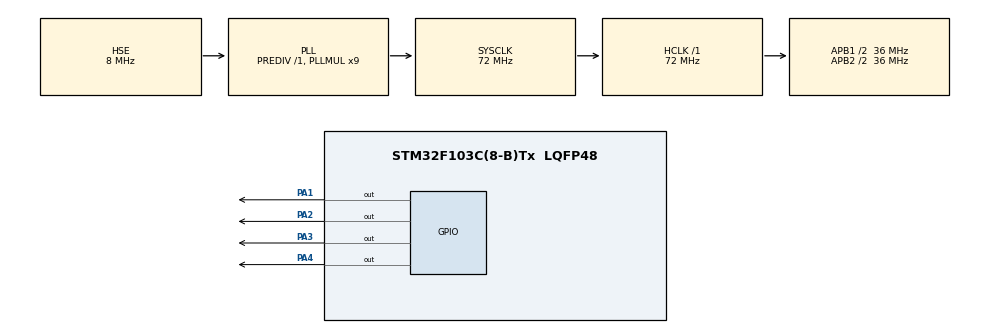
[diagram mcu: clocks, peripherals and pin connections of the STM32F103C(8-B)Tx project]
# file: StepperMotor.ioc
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Mcu.Family=STM32F1
Mcu.Name=STM32F103C(8-B)Tx
Mcu.Package=LQFP48
NVIC.PriorityGroup=NVIC_PRIORITYGROUP_4
PA1.Signal=GPIO_Output
PA2.Signal=GPIO_Output
PA3.Signal=GPIO_Output
PA4.Signal=GPIO_Output
PD0-OSC_IN.Mode=HSE-External-Oscillator
PD0-OSC_IN.Signal=RCC_OSC_IN
PD1-OSC_OUT.Mode=HSE-External-Oscillator
PD1-OSC_OUT.Signal=RCC_OSC_OUT
ProjectManager.HeapSize=0x200
ProjectManager.StackSize=0x400
ProjectManager.TargetToolchain=STM32CubeIDE
RCC.AHBFreq_Value=72000000
RCC.APB1CLKDivider=RCC_HCLK_DIV2
RCC.APB1Freq_Value=36000000
RCC.APB1TimFreq_Value=72000000
RCC.APB2CLKDivider=RCC_HCLK_DIV2
RCC.APB2Freq_Value=36000000
RCC.APB2TimFreq_Value=72000000
RCC.HCLKFreq_Value=72000000
RCC.PLLMUL=RCC_PLL_MUL9
RCC.PLLSourceVirtual=RCC_PLLSOURCE_HSE
RCC.SYSCLKFreq_VALUE=72000000
RCC.SYSCLKSource=RCC_SYSCLKSOURCE_PLLCLK
RCC.USBFreq_Value=72000000
VP_SYS_VS_ND.Mode=No_Debug
VP_TIM4_VS_ClockSourceINT.Mode=Internal
board=custom

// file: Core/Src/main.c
/* USER CODE BEGIN Header */
/**
  ******************************************************************************
  * @file           : main.c
  * @brief          : Main program body
  ******************************************************************************
  * @attention
  *
  * Copyright (c) 2023 STMicroelectronics.
  * All rights reserved.
  *
  * This software is licensed under terms that can be found in the LICENSE file
  * in the root directory of this software component.
  * If no LICENSE file comes with this software, it is provided AS-IS.
  *
  ******************************************************************************
  */
/* USER CODE END Header */
#include "main.h"

TIM_HandleTypeDef htim4;

void SystemClock_Config(void);
static void MX_GPIO_Init(void);
static void MX_TIM4_Init(void);

/* USER CODE BEGIN 0 */
#define stepsperrev 400
void stepper_step_angle(float angle, int direction, int rpm);
/* USER CODE END 0 */

int main(void)
{

  /* MCU Configuration--------------------------------------------------------*/

  /* Reset of all peripherals, Initializes the Flash interface and the Systick. */
  HAL_Init();

  /* Configure the system clock */
  SystemClock_Config();

  /* Initialize all configured peripherals */
  MX_GPIO_Init();
  MX_TIM4_Init();

  /* Infinite loop */
  while (1)
  {

    /* USER CODE BEGIN 3 */

	  stepper_step_angle(360, 1, 60);
	  HAL_Delay(200);
	  stepper_step_angle(360, 0, 60);
  }
  /* USER CODE END 3 */
}

void SystemClock_Config(void)
{
  RCC_OscInitTypeDef RCC_OscInitStruct = {0};
  RCC_ClkInitTypeDef RCC_ClkInitStruct = {0};

  /** Initializes the RCC Oscillators according to the specified parameters
  * in the RCC_OscInitTypeDef structure.
  */
  RCC_OscInitStruct.OscillatorType = RCC_OSCILLATORTYPE_HSE;
  RCC_OscInitStruct.HSEState = RCC_HSE_ON;
  RCC_OscInitStruct.HSEPredivValue = RCC_HSE_PREDIV_DIV1;
  RCC_OscInitStruct.HSIState = RCC_HSI_ON;
  RCC_OscInitStruct.PLL.PLLState = RCC_PLL_ON;
  RCC_OscInitStruct.PLL.PLLSource = RCC_PLLSOURCE_HSE;
  RCC_OscInitStruct.PLL.PLLMUL = RCC_PLL_MUL9;
  if (HAL_RCC_OscConfig(&RCC_OscInitStruct) != HAL_OK)
  {
    Error_Handler();
  }

  /** Initializes the CPU, AHB and APB buses clocks
  */
  RCC_ClkInitStruct.ClockType = RCC_CLOCKTYPE_HCLK|RCC_CLOCKTYPE_SYSCLK
                              |RCC_CLOCKTYPE_PCLK1|RCC_CLOCKTYPE_PCLK2;
  RCC_ClkInitStruct.SYSCLKSource = RCC_SYSCLKSOURCE_PLLCLK;
  RCC_ClkInitStruct.AHBCLKDivider = RCC_SYSCLK_DIV1;
  RCC_ClkInitStruct.APB1CLKDivider = RCC_HCLK_DIV2;
  RCC_ClkInitStruct.APB2CLKDivider = RCC_HCLK_DIV2;

  if (HAL_RCC_ClockConfig(&RCC_ClkInitStruct, FLASH_LATENCY_2) != HAL_OK)
  {
    Error_Handler();
  }
}

static void MX_TIM4_Init(void)
{

  TIM_ClockConfigTypeDef sClockSourceConfig = {0};
  TIM_MasterConfigTypeDef sMasterConfig = {0};

  htim4.Instance = TIM4;
  htim4.Init.Prescaler = 0;
  htim4.Init.CounterMode = TIM_COUNTERMODE_UP;
  htim4.Init.Period = 65535;
  htim4.Init.ClockDivision = TIM_CLOCKDIVISION_DIV1;
  htim4.Init.AutoReloadPreload = TIM_AUTORELOAD_PRELOAD_DISABLE;
  if (HAL_TIM_Base_Init(&htim4) != HAL_OK)
  {
    Error_Handler();
  }
  sClockSourceConfig.ClockSource = TIM_CLOCKSOURCE_INTERNAL;
  if (HAL_TIM_ConfigClockSource(&htim4, &sClockSourceConfig) != HAL_OK)
  {
    Error_Handler();
  }
  sMasterConfig.MasterOutputTrigger = TIM_TRGO_RESET;
  sMasterConfig.MasterSlaveMode = TIM_MASTERSLAVEMODE_DISABLE;
  if (HAL_TIMEx_MasterConfigSynchronization(&htim4, &sMasterConfig) != HAL_OK)
  {
    Error_Handler();
  }

}

static void MX_GPIO_Init(void)
{
  GPIO_InitTypeDef GPIO_InitStruct = {0};

  /* GPIO Ports Clock Enable */
  __HAL_RCC_GPIOD_CLK_ENABLE();
  __HAL_RCC_GPIOA_CLK_ENABLE();

  /*Configure GPIO pin Output Level */
  HAL_GPIO_WritePin(GPIOA, GPIO_PIN_1|GPIO_PIN_2|GPIO_PIN_3|GPIO_PIN_4, GPIO_PIN_RESET);

  /*Configure GPIO pins : PA1 PA2 PA3 PA4 */
  GPIO_InitStruct.Pin = GPIO_PIN_1|GPIO_PIN_2|GPIO_PIN_3|GPIO_PIN_4;
  GPIO_InitStruct.Mode = GPIO_MODE_OUTPUT_PP;
  GPIO_InitStruct.Pull = GPIO_NOPULL;
  GPIO_InitStruct.Speed = GPIO_SPEED_FREQ_LOW;
  HAL_GPIO_Init(GPIOA, &GPIO_InitStruct);

}

/* USER CODE BEGIN 4 */

void delay (uint16_t us)
{
  __HAL_TIM_SET_COUNTER(&htim4, 0);
  while (__HAL_TIM_GET_COUNTER(&htim4) < us);
}

void stepper_set_rpm (int rpm)  // Set rpm--> max 13, min 1,,,  went to 14 rev/min
{
	delay(60e6/stepsperrev/rpm);
}

void stepper_half_drive (int step)
{
	switch (step){
		case 0:
			  HAL_GPIO_WritePin(GPIOA, GPIO_PIN_1, GPIO_PIN_SET);   // IN1
			  HAL_GPIO_WritePin(GPIOA, GPIO_PIN_2, GPIO_PIN_RESET);   // IN2
			  HAL_GPIO_WritePin(GPIOA, GPIO_PIN_3, GPIO_PIN_RESET);   // IN3
			  HAL_GPIO_WritePin(GPIOA, GPIO_PIN_4, GPIO_PIN_RESET);   // IN4
			  break;

		case 1:
			  HAL_GPIO_WritePin(GPIOA, GPIO_PIN_1, GPIO_PIN_SET);   // IN1
			  HAL_GPIO_WritePin(GPIOA, GPIO_PIN_2, GPIO_PIN_SET);   // IN2
			  HAL_GPIO_WritePin(GPIOA, GPIO_PIN_3, GPIO_PIN_RESET);   // IN3
			  HAL_GPIO_WritePin(GPIOA, GPIO_PIN_4, GPIO_PIN_RESET);   // IN4
			  break;

		case 2:
			  HAL_GPIO_WritePin(GPIOA, GPIO_PIN_1, GPIO_PIN_RESET);   // IN1
			  HAL_GPIO_WritePin(GPIOA, GPIO_PIN_2, GPIO_PIN_SET);   // IN2
			  HAL_GPIO_WritePin(GPIOA, GPIO_PIN_3, GPIO_PIN_RESET);   // IN3
			  HAL_GPIO_WritePin(GPIOA, GPIO_PIN_4, GPIO_PIN_RESET);   // IN4
			  break;

		case 3:
			  HAL_GPIO_WritePin(GPIOA, GPIO_PIN_1, GPIO_PIN_RESET);   // IN1
			  HAL_GPIO_WritePin(GPIOA, GPIO_PIN_2, GPIO_PIN_SET);   // IN2
			  HAL_GPIO_WritePin(GPIOA, GPIO_PIN_3, GPIO_PIN_SET);   // IN3
			  HAL_GPIO_WritePin(GPIOA, GPIO_PIN_4, GPIO_PIN_RESET);   // IN4
			  break;

		case 4:
			  HAL_GPIO_WritePin(GPIOA, GPIO_PIN_1, GPIO_PIN_RESET);   // IN1
			  HAL_GPIO_WritePin(GPIOA, GPIO_PIN_2, GPIO_PIN_RESET);   // IN2
			  HAL_GPIO_WritePin(GPIOA, GPIO_PIN_3, GPIO_PIN_SET);   // IN3
			  HAL_GPIO_WritePin(GPIOA, GPIO_PIN_4, GPIO_PIN_RESET);   // IN4
			  break;

		case 5:
			  HAL_GPIO_WritePin(GPIOA, GPIO_PIN_1, GPIO_PIN_RESET);   // IN1
			  HAL_GPIO_WritePin(GPIOA, GPIO_PIN_2, GPIO_PIN_RESET);   // IN2
			  HAL_GPIO_WritePin(GPIOA, GPIO_PIN_3, GPIO_PIN_SET);   // IN3
			  HAL_GPIO_WritePin(GPIOA, GPIO_PIN_4, GPIO_PIN_SET);   // IN4
			  break;

		case 6:
			  HAL_GPIO_WritePin(GPIOA, GPIO_PIN_1, GPIO_PIN_RESET);   // IN1
			  HAL_GPIO_WritePin(GPIOA, GPIO_PIN_2, GPIO_PIN_RESET);   // IN2
			  HAL_GPIO_WritePin(GPIOA, GPIO_PIN_3, GPIO_PIN_RESET);   // IN3
			  HAL_GPIO_WritePin(GPIOA, GPIO_PIN_4, GPIO_PIN_SET);   // IN4
			  break;

		case 7:
			  HAL_GPIO_WritePin(GPIOA, GPIO_PIN_1, GPIO_PIN_SET);   // IN1
			  HAL_GPIO_WritePin(GPIOA, GPIO_PIN_2, GPIO_PIN_RESET);   // IN2
			  HAL_GPIO_WritePin(GPIOA, GPIO_PIN_3, GPIO_PIN_RESET);   // IN3
			  HAL_GPIO_WritePin(GPIOA, GPIO_PIN_4, GPIO_PIN_SET);   // IN4
			  break;

		}
}

void stepper_step_angle (float angle, int direction, int rpm)
{
	float anglepersequence = 7.2;  // 360 = 50 sequences
	int numberofsequences = (int) (angle/anglepersequence);

	for (int seq=0; seq<numberofsequences; seq++)
	{
		if (direction == 0)  // for clockwise
		{
			for (int step=7; step>=0; step--)
			{
				stepper_half_drive(step);
				//stepper_set_rpm(rpm);
				HAL_Delay(50);

			}

		}

		else if (direction == 1)  // for anti-clockwise
		{
			for (int step=0; step<8; step++)
			{
				stepper_half_drive(step);
				//stepper_set_rpm(rpm);
				HAL_Delay(50);

			}
		}
	}
}

/* USER CODE END 4 */

void Error_Handler(void)
{
  __disable_irq();
  while (1)
  {
  }
}
